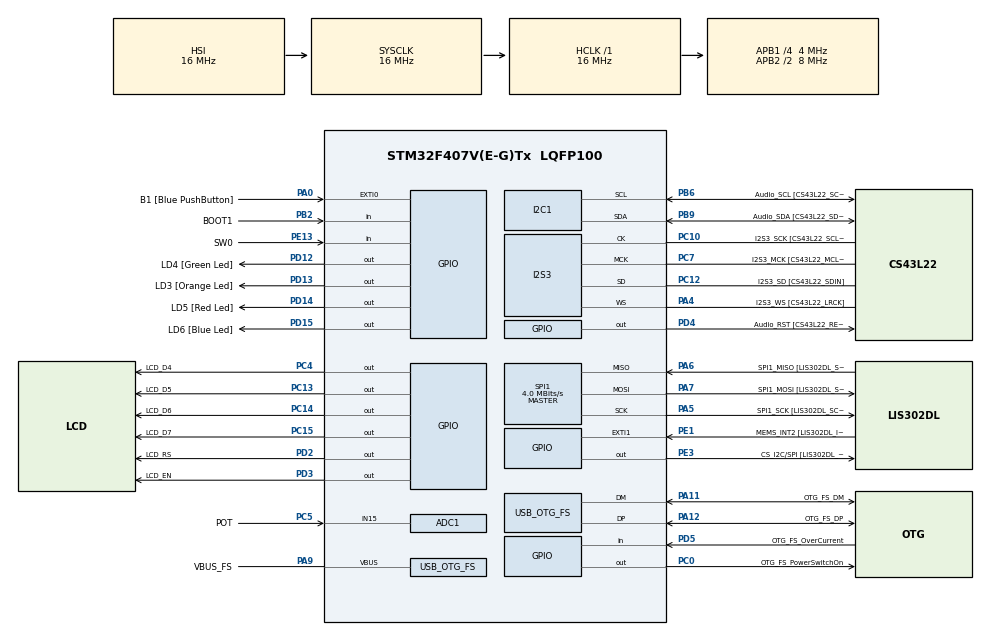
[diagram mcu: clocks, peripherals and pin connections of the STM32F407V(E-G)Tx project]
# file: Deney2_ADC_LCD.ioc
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ADC1.Channel-0\#ChannelRegularConversion=ADC_CHANNEL_15
ADC1.ContinuousConvMode=ENABLE
ADC1.NbrOfConversionFlag=1
ADC1.Rank-0\#ChannelRegularConversion=1
ADC1.SamplingTime-0\#ChannelRegularConversion=ADC_SAMPLETIME_144CYCLES
ADC1.master=1
I2S3.AudioFreq-Half_Duplex_Master=I2S_AUDIOFREQ_96K
I2S3.ErrorAudioFreq=-2.34 %
I2S3.ErrorAudioFreq-Half_Duplex_Master=0.8 %
I2S3.FullDuplexMode=I2S_FULLDUPLEXMODE_DISABLE
I2S3.Instance=SPI$Index
I2S3.RealAudioFreq=93.75 KHz
I2S3.RealAudioFreq-Half_Duplex_Master=96.774 KHz
I2S3.VirtualMode=I2S_MODE_MASTER
Mcu.Family=STM32F4
Mcu.Name=STM32F407V(E-G)Tx
Mcu.Package=LQFP100
NVIC.OTG_FS_IRQn=true\:0\:0\:false\:false\:true\:true\:true\:true
NVIC.PriorityGroup=NVIC_PRIORITYGROUP_0
PA0-WKUP.GPIO_Label=B1 [Blue PushButton]
PA0-WKUP.GPIO_ModeDefaultEXTI=GPIO_MODE_EVT_RISING
PA0-WKUP.GPIO_PuPd=GPIO_NOPULL
PA0-WKUP.Signal=GPXTI0
PA10.GPIO_Label=OTG_FS_ID
PA10.GPIO_Mode=GPIO_MODE_AF_PP
PA10.GPIO_PuPd=GPIO_NOPULL
PA10.GPIO_Speed=GPIO_SPEED_FREQ_LOW
PA10.Signal=USB_OTG_FS_ID
PA11.GPIO_Label=OTG_FS_DM
PA11.GPIO_Mode=GPIO_MODE_AF_PP
PA11.GPIO_PuPd=GPIO_NOPULL
PA11.GPIO_Speed=GPIO_SPEED_FREQ_LOW
PA11.Mode=Host_Only
PA11.Signal=USB_OTG_FS_DM
PA12.GPIO_Label=OTG_FS_DP
PA12.GPIO_Mode=GPIO_MODE_AF_PP
PA12.GPIO_PuPd=GPIO_NOPULL
PA12.GPIO_Speed=GPIO_SPEED_FREQ_LOW
PA12.Mode=Host_Only
PA12.Signal=USB_OTG_FS_DP
PA13.GPIO_Label=SWDIO
PA13.Mode=Serial_Wire
PA13.Signal=SYS_JTMS-SWDIO
PA14.GPIO_Label=SWCLK
PA14.Mode=Serial_Wire
PA14.Signal=SYS_JTCK-SWCLK
PA4.GPIO_Label=I2S3_WS [CS43L22_LRCK]
PA4.GPIO_Mode=GPIO_MODE_AF_PP
PA4.GPIO_PuPd=GPIO_NOPULL
PA4.GPIO_Speed=GPIO_SPEED_FREQ_LOW
PA4.Mode=Half_Duplex_Master
PA4.Signal=I2S3_WS
PA5.GPIO_Label=SPI1_SCK [LIS302DL_SCL/SPC]
PA5.GPIO_Mode=GPIO_MODE_AF_PP
PA5.GPIO_PuPd=GPIO_NOPULL
PA5.GPIO_Speed=GPIO_SPEED_FREQ_LOW
PA5.Mode=Full_Duplex_Master
PA5.Signal=SPI1_SCK
PA6.GPIO_Label=SPI1_MISO [LIS302DL_SDO]
PA6.GPIO_Mode=GPIO_MODE_AF_PP
PA6.GPIO_PuPd=GPIO_NOPULL
PA6.GPIO_Speed=GPIO_SPEED_FREQ_LOW
PA6.Mode=Full_Duplex_Master
PA6.Signal=SPI1_MISO
PA7.GPIO_Label=SPI1_MOSI [LIS302DL_SDA/SDI/SDO]
PA7.GPIO_Mode=GPIO_MODE_AF_PP
PA7.GPIO_PuPd=GPIO_NOPULL
PA7.GPIO_Speed=GPIO_SPEED_FREQ_LOW
PA7.Mode=Full_Duplex_Master
PA7.Signal=SPI1_MOSI
PA9.GPIO_Label=VBUS_FS
PA9.GPIO_Mode=GPIO_MODE_INPUT
PA9.GPIO_PuPd=GPIO_NOPULL
PA9.Mode=Activate_VBUS
PA9.Signal=USB_OTG_FS_VBUS
PB10.GPIO_Label=CLK_IN [MP45DT02_CLK]
PB10.GPIO_Mode=GPIO_MODE_AF_PP
PB10.GPIO_PuPd=GPIO_NOPULL
PB10.GPIO_Speed=GPIO_SPEED_FREQ_LOW
PB10.Signal=I2S2_CK
PB2.GPIO_Label=BOOT1
PB2.GPIO_Mode=GPIO_MODE_INPUT
PB2.GPIO_PuPd=GPIO_NOPULL
PB2.Signal=GPIO_Input
PB3.GPIO_Label=SWO
PB3.Signal=SYS_JTDO-SWO
PB6.GPIO_Label=Audio_SCL [CS43L22_SCL]
PB6.GPIO_Mode=GPIO_MODE_AF_OD
PB6.GPIO_Pu=GPIO_PULLUP
PB6.GPIO_PuPd=GPIO_NOPULL
PB6.GPIO_Speed=GPIO_SPEED_FREQ_LOW
PB6.Mode=I2C
PB6.Signal=I2C1_SCL
PB9.GPIO_Label=Audio_SDA [CS43L22_SDA]
PB9.GPIO_Mode=GPIO_MODE_AF_OD
PB9.GPIO_Pu=GPIO_PULLUP
PB9.GPIO_PuPd=GPIO_NOPULL
PB9.GPIO_Speed=GPIO_SPEED_FREQ_LOW
PB9.Mode=I2C
PB9.Signal=I2C1_SDA
PC0.GPIO_Label=OTG_FS_PowerSwitchOn
PC0.GPIO_PuPd=GPIO_NOPULL
PC0.GPIO_Speed=GPIO_SPEED_FREQ_LOW
PC0.PinState=GPIO_PIN_SET
PC0.Signal=GPIO_Output
PC10.GPIO_Label=I2S3_SCK [CS43L22_SCLK]
PC10.GPIO_Mode=GPIO_MODE_AF_PP
PC10.GPIO_PuPd=GPIO_NOPULL
PC10.GPIO_Speed=GPIO_SPEED_FREQ_LOW
PC10.Mode=Half_Duplex_Master
PC10.Signal=I2S3_CK
PC12.GPIO_Label=I2S3_SD [CS43L22_SDIN]
PC12.GPIO_Mode=GPIO_MODE_AF_PP
PC12.GPIO_PuPd=GPIO_NOPULL
PC12.GPIO_Speed=GPIO_SPEED_FREQ_LOW
PC12.Mode=Half_Duplex_Master
PC12.Signal=I2S3_SD
PC13-ANTI_TAMP.GPIO_Label=LCD_D5
PC13-ANTI_TAMP.Signal=GPIO_Output
PC14-OSC32_IN.GPIO_Label=LCD_D6
PC14-OSC32_IN.Signal=GPIO_Output
PC15-OSC32_OUT.GPIO_Label=LCD_D7
PC15-OSC32_OUT.Signal=GPIO_Output
PC3.GPIO_Label=PDM_OUT [MP45DT02_DOUT]
PC3.GPIO_Mode=GPIO_MODE_AF_PP
PC3.GPIO_PuPd=GPIO_NOPULL
PC3.GPIO_Speed=GPIO_SPEED_FREQ_LOW
PC3.Signal=I2S2_SD
PC4.GPIO_Label=LCD_D4
PC4.Signal=GPIO_Output
PC5.GPIO_Label=POT
PC5.Signal=ADCx_IN15
PC7.GPIO_Label=I2S3_MCK [CS43L22_MCLK]
PC7.GPIO_Mode=GPIO_MODE_AF_PP
PC7.GPIO_PuPd=GPIO_NOPULL
PC7.GPIO_Speed=GPIO_SPEED_FREQ_LOW
PC7.Mode=Master_Clock_Activated
PC7.Signal=I2S3_MCK
PD12.GPIO_Label=LD4 [Green Led]
PD12.GPIO_PuPd=GPIO_NOPULL
PD12.GPIO_Speed=GPIO_SPEED_FREQ_LOW
PD12.Signal=GPIO_Output
PD13.GPIO_Label=LD3 [Orange Led]
PD13.GPIO_PuPd=GPIO_NOPULL
PD13.GPIO_Speed=GPIO_SPEED_FREQ_LOW
PD13.Signal=GPIO_Output
PD14.GPIO_Label=LD5 [Red Led]
PD14.GPIO_PuPd=GPIO_NOPULL
PD14.GPIO_Speed=GPIO_SPEED_FREQ_LOW
PD14.Signal=GPIO_Output
PD15.GPIO_Label=LD6 [Blue Led]
PD15.GPIO_PuPd=GPIO_NOPULL
PD15.GPIO_Speed=GPIO_SPEED_FREQ_LOW
PD15.Signal=GPIO_Output
PD2.GPIO_Label=LCD_RS
PD2.Signal=GPIO_Output
PD3.GPIO_Label=LCD_EN
PD3.Signal=GPIO_Output
PD4.GPIO_Label=Audio_RST [CS43L22_RESET]
PD4.GPIO_PuPd=GPIO_NOPULL
PD4.GPIO_Speed=GPIO_SPEED_FREQ_LOW
PD4.Signal=GPIO_Output
PD5.GPIO_Label=OTG_FS_OverCurrent
PD5.GPIO_Mode=GPIO_MODE_INPUT
PD5.GPIO_PuPd=GPIO_NOPULL
PD5.Signal=GPIO_Input
PE1.GPIO_Label=MEMS_INT2 [LIS302DL_INT2]
PE1.GPIO_ModeDefaultEXTI=GPIO_MODE_EVT_RISING
PE1.GPIO_PuPd=GPIO_NOPULL
PE1.Signal=GPXTI1
PE13.GPIO_Label=SW0
PE13.Signal=GPIO_Input
PE3.GPIO_Label=CS_I2C/SPI [LIS302DL_CS_I2C/SPI]
PE3.GPIO_PuPd=GPIO_NOPULL
PE3.GPIO_Speed=GPIO_SPEED_FREQ_LOW
PE3.Signal=GPIO_Output
PH0-OSC_IN.GPIO_Label=PH0-OSC_IN
PH0-OSC_IN.Mode=HSE-External-Oscillator
PH0-OSC_IN.Signal=RCC_OSC_IN
PH1-OSC_OUT.GPIO_Label=PH1-OSC_OUT
PH1-OSC_OUT.Mode=HSE-External-Oscillator
PH1-OSC_OUT.Signal=RCC_OSC_OUT
ProjectManager.HeapSize=0x200
ProjectManager.StackSize=0x400
ProjectManager.TargetToolchain=STM32CubeIDE
RCC.48MHZClocksFreq_Value=48000000
RCC.AHBFreq_Value=16000000
RCC.APB1CLKDivider=RCC_HCLK_DIV4
RCC.APB1Freq_Value=4000000
RCC.APB1TimFreq_Value=8000000
RCC.APB2CLKDivider=RCC_HCLK_DIV2
RCC.APB2Freq_Value=8000000
RCC.APB2TimFreq_Value=16000000
RCC.CortexFreq_Value=16000000
RCC.HCLKFreq_Value=16000000
RCC.HSE_VALUE=8000000
RCC.HSI_VALUE=16000000
RCC.PLLM=8
RCC.PLLN=336
RCC.PLLQ=7
RCC.SYSCLKFreq_VALUE=16000000
RCC.VCOOutputFreq_Value=336000000
SH.ADCx_IN15.0=ADC1_IN15,IN15
SPI1.BaudRatePrescaler-Full_Duplex_Master=SPI_BAUDRATEPRESCALER_2
SPI1.CalculateBaudRate=4.0 MBits/s
SPI1.CalculateBaudRate-Full_Duplex_Master=42.0 MBits/s
SPI1.Direction=SPI_DIRECTION_2LINES
SPI1.Mode=SPI_MODE_MASTER
SPI1.Mode-Full_Duplex_Master=SPI_MODE_MASTER
SPI1.VirtualType=VM_MASTER
USB_HOST.BSP.number=1
USB_HOST.USBH_HandleTypeDef-CDC_FS=hUsbHostFS
USB_HOST.VirtualModeFS=Cdc
USB_HOST0.BSP.STBoard=false
USB_HOST0.BSP.api=Unknown
USB_HOST0.BSP.instance=PC0
USB_HOST0.BSP.ip=GPIO
USB_HOST0.BSP.mode=Output
USB_HOST0.BSP.name=Drive_VBUS_FS
USB_HOST0.BSP.solution=PC0
USB_OTG_FS.VirtualMode=Host_Only
USB_OTG_FS.phy_itface=HCD_PHY_EMBEDDED
VP_USB_HOST_VS_USB_HOST_CDC_FS.Mode=CDC_FS
board=STM32F407G-DISC1

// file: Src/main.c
/* USER CODE BEGIN Header */
/**
  ******************************************************************************
  * @file           : main.c
  * @brief          : Main program body
  ******************************************************************************
  * @attention
  *
  * Copyright (c) 2025 STMicroelectronics.
  * All rights reserved.
  *
  * This software is licensed under terms that can be found in the LICENSE file
  * in the root directory of this software component.
  * If no LICENSE file comes with this software, it is provided AS-IS.
  *
  ******************************************************************************
  */
/* USER CODE END Header */
#include "main.h"
#include "usb_host.h"
#include <stdio.h>   // <--- BUNU EKLE (sprintf için)
#include "lcd.h"     // <--- BUNU DA EKLE (Eğer yoksa)

ADC_HandleTypeDef hadc1;

I2C_HandleTypeDef hi2c1;

I2S_HandleTypeDef hi2s3;

SPI_HandleTypeDef hspi1;

void SystemClock_Config(void);
static void MX_GPIO_Init(void);
static void MX_I2C1_Init(void);
static void MX_I2S3_Init(void);
static void MX_SPI1_Init(void);
static void MX_ADC1_Init(void);
void MX_USB_HOST_Process(void);

/* USER CODE BEGIN 0 */
uint16_t adc_ham_deger = 0; // 0-4095 arası okunan değer
float voltaj_degeri = 0.0;  // Hesaplanmış voltaj (V)
char lcd_buffer[16];        // LCD'ye yazı yazdırmak için tampon
/* USER CODE END 0 */

int main(void)
{

  /* MCU Configuration--------------------------------------------------------*/

  /* Reset of all peripherals, Initializes the Flash interface and the Systick. */
  HAL_Init();

  /* Configure the system clock */
  SystemClock_Config();

  /* Initialize all configured peripherals */
  MX_GPIO_Init();
  MX_I2C1_Init();
  MX_I2S3_Init();
  MX_SPI1_Init();
  MX_USB_HOST_Init();
  MX_ADC1_Init();
  /* USER CODE BEGIN 2 */
    LCD_Init(); // LCD ekranı başlat
    HAL_ADC_Start(&hadc1); // ADC birimini başlat

    // --- ÖDEV İSTERİ 1 & 2: Açılış Mesajları ---
    LCD_SetCursor(0, 0);
    LCD_Print("SCU BIL MUH");
    HAL_Delay(7000); // 2 Saniye Bekle
    LCD_Clear();     // Ekranı Temizle

    LCD_SetCursor(0, 0);
    LCD_Print("DENEY-2 ADC");
    LCD_SetCursor(1, 0);
    LCD_Print("Grup No: 1");
    HAL_Delay(7000); // 3 Saniye Bekle
    LCD_Clear();
    /* USER CODE END 2 */

    /* USER CODE BEGIN WHILE */
    while (1)
    {
        // 1. ADC Değerini Oku (Polling Yöntemi)
        // Dönüşümün tamamlanmasını 100ms kadar bekle
        if (HAL_ADC_PollForConversion(&hadc1, 100) == HAL_OK)
        {
            // Tamamlandıysa değeri oku ve değişkene at
            adc_ham_deger = HAL_ADC_GetValue(&hadc1);
        }

        // 2. Birinci Satır: Ham ADC Değerini Yazdır
        LCD_SetCursor(0, 0);
        // %4d: Sayıyı 4 haneli olarak formatla (Örn: " 123")
        sprintf(lcd_buffer, "ADC Val: %4d", adc_ham_deger);
        LCD_Print(lcd_buffer);

        // 3. İkinci Satır: SW0 Kontrolü ve Voltaj Gösterimi
        // SW0 (PE13) anahtarı açık mı? (SET mi?)
        if (HAL_GPIO_ReadPin(SW0_GPIO_Port, SW0_Pin) == GPIO_PIN_SET)
        {
            // Formül ile voltajı hesapla
            voltaj_degeri = (float)adc_ham_deger * 3.3 / 4095.0;

            LCD_SetCursor(1, 0);
            // %.2f: Virgülden sonra 2 basamak göster (Örn: 1.65)
            sprintf(lcd_buffer, "ADC (V): %.2f V", voltaj_degeri);
            LCD_Print(lcd_buffer);
        }
        else
        {
            // Anahtar kapalıysa ikinci satırı temizle
            LCD_SetCursor(1, 0);
            LCD_Print("                ");
        }

        HAL_Delay(100); // Ekran titremesini önlemek için kısa bekleme
    }
    /* USER CODE END WHILE */

  /* Infinite loop */
  while (1)
  {
    MX_USB_HOST_Process();

  }
}

void SystemClock_Config(void)
{
  RCC_OscInitTypeDef RCC_OscInitStruct = {0};
  RCC_ClkInitTypeDef RCC_ClkInitStruct = {0};

  /** Configure the main internal regulator output voltage
  */
  __HAL_RCC_PWR_CLK_ENABLE();
  __HAL_PWR_VOLTAGESCALING_CONFIG(PWR_REGULATOR_VOLTAGE_SCALE1);

  /** Initializes the RCC Oscillators according to the specified parameters
  * in the RCC_OscInitTypeDef structure.
  */
  RCC_OscInitStruct.OscillatorType = RCC_OSCILLATORTYPE_HSI|RCC_OSCILLATORTYPE_HSE;
  RCC_OscInitStruct.HSEState = RCC_HSE_ON;
  RCC_OscInitStruct.HSIState = RCC_HSI_ON;
  RCC_OscInitStruct.HSICalibrationValue = RCC_HSICALIBRATION_DEFAULT;
  RCC_OscInitStruct.PLL.PLLState = RCC_PLL_ON;
  RCC_OscInitStruct.PLL.PLLSource = RCC_PLLSOURCE_HSE;
  RCC_OscInitStruct.PLL.PLLM = 8;
  RCC_OscInitStruct.PLL.PLLN = 336;
  RCC_OscInitStruct.PLL.PLLP = RCC_PLLP_DIV2;
  RCC_OscInitStruct.PLL.PLLQ = 7;
  if (HAL_RCC_OscConfig(&RCC_OscInitStruct) != HAL_OK)
  {
    Error_Handler();
  }

  /** Initializes the CPU, AHB and APB buses clocks
  */
  RCC_ClkInitStruct.ClockType = RCC_CLOCKTYPE_HCLK|RCC_CLOCKTYPE_SYSCLK
                              |RCC_CLOCKTYPE_PCLK1|RCC_CLOCKTYPE_PCLK2;
  RCC_ClkInitStruct.SYSCLKSource = RCC_SYSCLKSOURCE_HSI;
  RCC_ClkInitStruct.AHBCLKDivider = RCC_SYSCLK_DIV1;
  RCC_ClkInitStruct.APB1CLKDivider = RCC_HCLK_DIV4;
  RCC_ClkInitStruct.APB2CLKDivider = RCC_HCLK_DIV2;

  if (HAL_RCC_ClockConfig(&RCC_ClkInitStruct, FLASH_LATENCY_0) != HAL_OK)
  {
    Error_Handler();
  }
}

static void MX_ADC1_Init(void)
{

  ADC_ChannelConfTypeDef sConfig = {0};

  /** Configure the global features of the ADC (Clock, Resolution, Data Alignment and number of conversion)
  */
  hadc1.Instance = ADC1;
  hadc1.Init.ClockPrescaler = ADC_CLOCK_SYNC_PCLK_DIV2;
  hadc1.Init.Resolution = ADC_RESOLUTION_12B;
  hadc1.Init.ScanConvMode = DISABLE;
  hadc1.Init.ContinuousConvMode = ENABLE;
  hadc1.Init.DiscontinuousConvMode = DISABLE;
  hadc1.Init.ExternalTrigConvEdge = ADC_EXTERNALTRIGCONVEDGE_NONE;
  hadc1.Init.ExternalTrigConv = ADC_SOFTWARE_START;
  hadc1.Init.DataAlign = ADC_DATAALIGN_RIGHT;
  hadc1.Init.NbrOfConversion = 1;
  hadc1.Init.DMAContinuousRequests = DISABLE;
  hadc1.Init.EOCSelection = ADC_EOC_SINGLE_CONV;
  if (HAL_ADC_Init(&hadc1) != HAL_OK)
  {
    Error_Handler();
  }

  /** Configure for the selected ADC regular channel its corresponding rank in the sequencer and its sample time.
  */
  sConfig.Channel = ADC_CHANNEL_15;
  sConfig.Rank = 1;
  sConfig.SamplingTime = ADC_SAMPLETIME_144CYCLES;
  if (HAL_ADC_ConfigChannel(&hadc1, &sConfig) != HAL_OK)
  {
    Error_Handler();
  }

}

static void MX_I2C1_Init(void)
{

  hi2c1.Instance = I2C1;
  hi2c1.Init.ClockSpeed = 100000;
  hi2c1.Init.DutyCycle = I2C_DUTYCYCLE_2;
  hi2c1.Init.OwnAddress1 = 0;
  hi2c1.Init.AddressingMode = I2C_ADDRESSINGMODE_7BIT;
  hi2c1.Init.DualAddressMode = I2C_DUALADDRESS_DISABLE;
  hi2c1.Init.OwnAddress2 = 0;
  hi2c1.Init.GeneralCallMode = I2C_GENERALCALL_DISABLE;
  hi2c1.Init.NoStretchMode = I2C_NOSTRETCH_DISABLE;
  if (HAL_I2C_Init(&hi2c1) != HAL_OK)
  {
    Error_Handler();
  }

}

static void MX_I2S3_Init(void)
{

  hi2s3.Instance = SPI3;
  hi2s3.Init.Mode = I2S_MODE_MASTER_TX;
  hi2s3.Init.Standard = I2S_STANDARD_PHILIPS;
  hi2s3.Init.DataFormat = I2S_DATAFORMAT_16B;
  hi2s3.Init.MCLKOutput = I2S_MCLKOUTPUT_ENABLE;
  hi2s3.Init.AudioFreq = I2S_AUDIOFREQ_96K;
  hi2s3.Init.CPOL = I2S_CPOL_LOW;
  hi2s3.Init.ClockSource = I2S_CLOCK_PLL;
  hi2s3.Init.FullDuplexMode = I2S_FULLDUPLEXMODE_DISABLE;
  if (HAL_I2S_Init(&hi2s3) != HAL_OK)
  {
    Error_Handler();
  }

}

static void MX_SPI1_Init(void)
{

  /* SPI1 parameter configuration*/
  hspi1.Instance = SPI1;
  hspi1.Init.Mode = SPI_MODE_MASTER;
  hspi1.Init.Direction = SPI_DIRECTION_2LINES;
  hspi1.Init.DataSize = SPI_DATASIZE_8BIT;
  hspi1.Init.CLKPolarity = SPI_POLARITY_LOW;
  hspi1.Init.CLKPhase = SPI_PHASE_1EDGE;
  hspi1.Init.NSS = SPI_NSS_SOFT;
  hspi1.Init.BaudRatePrescaler = SPI_BAUDRATEPRESCALER_2;
  hspi1.Init.FirstBit = SPI_FIRSTBIT_MSB;
  hspi1.Init.TIMode = SPI_TIMODE_DISABLE;
  hspi1.Init.CRCCalculation = SPI_CRCCALCULATION_DISABLE;
  hspi1.Init.CRCPolynomial = 10;
  if (HAL_SPI_Init(&hspi1) != HAL_OK)
  {
    Error_Handler();
  }

}

static void MX_GPIO_Init(void)
{
  GPIO_InitTypeDef GPIO_InitStruct = {0};

  /* GPIO Ports Clock Enable */
  __HAL_RCC_GPIOE_CLK_ENABLE();
  __HAL_RCC_GPIOC_CLK_ENABLE();
  __HAL_RCC_GPIOH_CLK_ENABLE();
  __HAL_RCC_GPIOA_CLK_ENABLE();
  __HAL_RCC_GPIOB_CLK_ENABLE();
  __HAL_RCC_GPIOD_CLK_ENABLE();

  /*Configure GPIO pin Output Level */
  HAL_GPIO_WritePin(CS_I2C_SPI_GPIO_Port, CS_I2C_SPI_Pin, GPIO_PIN_RESET);

  /*Configure GPIO pin Output Level */
  HAL_GPIO_WritePin(GPIOC, LCD_D5_Pin|LCD_D6_Pin|LCD_D7_Pin|LCD_D4_Pin, GPIO_PIN_RESET);

  /*Configure GPIO pin Output Level */
  HAL_GPIO_WritePin(OTG_FS_PowerSwitchOn_GPIO_Port, OTG_FS_PowerSwitchOn_Pin, GPIO_PIN_SET);

  /*Configure GPIO pin Output Level */
  HAL_GPIO_WritePin(GPIOD, LD4_Pin|LD3_Pin|LD5_Pin|LD6_Pin
                          |LCD_RS_Pin|LCD_EN_Pin|Audio_RST_Pin, GPIO_PIN_RESET);

  /*Configure GPIO pin : CS_I2C_SPI_Pin */
  GPIO_InitStruct.Pin = CS_I2C_SPI_Pin;
  GPIO_InitStruct.Mode = GPIO_MODE_OUTPUT_PP;
  GPIO_InitStruct.Pull = GPIO_NOPULL;
  GPIO_InitStruct.Speed = GPIO_SPEED_FREQ_LOW;
  HAL_GPIO_Init(CS_I2C_SPI_GPIO_Port, &GPIO_InitStruct);

  /*Configure GPIO pins : LCD_D5_Pin LCD_D6_Pin LCD_D7_Pin OTG_FS_PowerSwitchOn_Pin
                           LCD_D4_Pin */
  GPIO_InitStruct.Pin = LCD_D5_Pin|LCD_D6_Pin|LCD_D7_Pin|OTG_FS_PowerSwitchOn_Pin
                          |LCD_D4_Pin;
  GPIO_InitStruct.Mode = GPIO_MODE_OUTPUT_PP;
  GPIO_InitStruct.Pull = GPIO_NOPULL;
  GPIO_InitStruct.Speed = GPIO_SPEED_FREQ_LOW;
  HAL_GPIO_Init(GPIOC, &GPIO_InitStruct);

  /*Configure GPIO pin : PDM_OUT_Pin */
  GPIO_InitStruct.Pin = PDM_OUT_Pin;
  GPIO_InitStruct.Mode = GPIO_MODE_AF_PP;
  GPIO_InitStruct.Pull = GPIO_NOPULL;
  GPIO_InitStruct.Speed = GPIO_SPEED_FREQ_LOW;
  GPIO_InitStruct.Alternate = GPIO_AF5_SPI2;
  HAL_GPIO_Init(PDM_OUT_GPIO_Port, &GPIO_InitStruct);

  /*Configure GPIO pin : B1_Pin */
  GPIO_InitStruct.Pin = B1_Pin;
  GPIO_InitStruct.Mode = GPIO_MODE_EVT_RISING;
  GPIO_InitStruct.Pull = GPIO_NOPULL;
  HAL_GPIO_Init(B1_GPIO_Port, &GPIO_InitStruct);

  /*Configure GPIO pin : BOOT1_Pin */
  GPIO_InitStruct.Pin = BOOT1_Pin;
  GPIO_InitStruct.Mode = GPIO_MODE_INPUT;
  GPIO_InitStruct.Pull = GPIO_NOPULL;
  HAL_GPIO_Init(BOOT1_GPIO_Port, &GPIO_InitStruct);

  /*Configure GPIO pin : SW0_Pin */
  GPIO_InitStruct.Pin = SW0_Pin;
  GPIO_InitStruct.Mode = GPIO_MODE_INPUT;
  GPIO_InitStruct.Pull = GPIO_NOPULL;
  HAL_GPIO_Init(SW0_GPIO_Port, &GPIO_InitStruct);

  /*Configure GPIO pin : CLK_IN_Pin */
  GPIO_InitStruct.Pin = CLK_IN_Pin;
  GPIO_InitStruct.Mode = GPIO_MODE_AF_PP;
  GPIO_InitStruct.Pull = GPIO_NOPULL;
  GPIO_InitStruct.Speed = GPIO_SPEED_FREQ_LOW;
  GPIO_InitStruct.Alternate = GPIO_AF5_SPI2;
  HAL_GPIO_Init(CLK_IN_GPIO_Port, &GPIO_InitStruct);

  /*Configure GPIO pins : LD4_Pin LD3_Pin LD5_Pin LD6_Pin
                           LCD_RS_Pin LCD_EN_Pin Audio_RST_Pin */
  GPIO_InitStruct.Pin = LD4_Pin|LD3_Pin|LD5_Pin|LD6_Pin
                          |LCD_RS_Pin|LCD_EN_Pin|Audio_RST_Pin;
  GPIO_InitStruct.Mode = GPIO_MODE_OUTPUT_PP;
  GPIO_InitStruct.Pull = GPIO_NOPULL;
  GPIO_InitStruct.Speed = GPIO_SPEED_FREQ_LOW;
  HAL_GPIO_Init(GPIOD, &GPIO_InitStruct);

  /*Configure GPIO pin : OTG_FS_OverCurrent_Pin */
  GPIO_InitStruct.Pin = OTG_FS_OverCurrent_Pin;
  GPIO_InitStruct.Mode = GPIO_MODE_INPUT;
  GPIO_InitStruct.Pull = GPIO_NOPULL;
  HAL_GPIO_Init(OTG_FS_OverCurrent_GPIO_Port, &GPIO_InitStruct);

  /*Configure GPIO pin : MEMS_INT2_Pin */
  GPIO_InitStruct.Pin = MEMS_INT2_Pin;
  GPIO_InitStruct.Mode = GPIO_MODE_EVT_RISING;
  GPIO_InitStruct.Pull = GPIO_NOPULL;
  HAL_GPIO_Init(MEMS_INT2_GPIO_Port, &GPIO_InitStruct);

}

void Error_Handler(void)
{
  __disable_irq();
  while (1)
  {
  }
}
